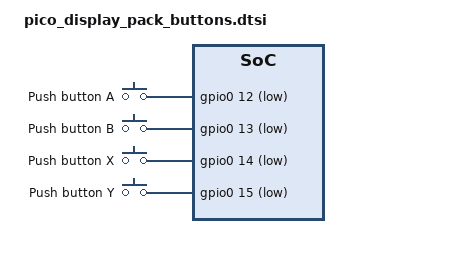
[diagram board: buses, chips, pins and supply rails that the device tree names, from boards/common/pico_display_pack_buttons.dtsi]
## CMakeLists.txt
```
# SPDX-License-Identifier: Apache-2.0

cmake_minimum_required(VERSION 3.20.0)

string(REGEX MATCH "^[^/]+" BOARD_NAME "${BOARD}")
if(BOARD_NAME STREQUAL "rpi_pico2")
    message(STATUS "Compiling for RPI_PICO2")
elseif(BOARD_NAME STREQUAL "rpi_pico")
    message(STATUS "Compiling for RPI_PICO")
endif()

if(EXTRA_CFLAGS MATCHES "-DOVP_SCALE_FACTOR=([0-9\\.eE+-]+)")
  set(OVP_SCALE_FACTOR "${CMAKE_MATCH_1}")
  message(STATUS "OVP_SCALE_FACTOR = ${OVP_SCALE_FACTOR}")
endif()

if(CONFIG_PICO_DISPLAY_PACK AND BOARD_NAME STREQUAL "rpi_pico")
  set(DTC_OVERLAY_FILE "boards/rpi_pico/pico_display_pack.overlay")
elseif(CONFIG_PICO_DISPLAY_PACK2 AND BOARD_NAME STREQUAL "rpi_pico")
  set(DTC_OVERLAY_FILE "boards/rpi_pico/pico_display_pack2.overlay")
elseif(CONFIG_PICO_DISPLAY_PACK AND BOARD_NAME STREQUAL "rpi_pico2")
  set(DTC_OVERLAY_FILE "boards/rpi_pico2/pico_display_pack.overlay")
elseif(CONFIG_PICO_DISPLAY_PACK2 AND BOARD_NAME STREQUAL "rpi_pico2")
  set(DTC_OVERLAY_FILE "boards/rpi_pico2/pico_display_pack2.overlay")
endif()

# Conditionally layer the PIO+DMA display fragment on top of the base overlay.
# This must be done from CMake (not via an #if inside the overlay): Zephyr runs
# the devicetree through the C preprocessor before Kconfig is evaluated, so
# CONFIG_* macros are not defined during DT preprocessing. The pio dtsi is its
# own overlay so it is applied after the base one and repoints &mipi_dbi.
# The PIO fragment is panel-agnostic (the display SPI pins are identical on
# Pack 1.0 and Pack 2.0), so a single per-board-family fragment is layered on
# top of whichever pack overlay was selected above.
if(CONFIG_DISPLAY_SPI_PIO_DMA)
  if(BOARD_NAME STREQUAL "rpi_pico")
    list(APPEND DTC_OVERLAY_FILE "boards/rpi_pico/pico_display_pio.dtsi")
  elseif(BOARD_NAME STREQUAL "rpi_pico2")
    list(APPEND DTC_OVERLAY_FILE "boards/rpi_pico2/pico_display_pio.dtsi")
  endif()
endif()

# Pico W WiFi/AP builds (wifi.conf / ap.conf) need a flash storage partition for
# NVS-backed Settings. DT is preprocessed before Kconfig, so gate on the conf
# fragment (a CMake-time -D), not CONFIG_WIFI. These builds are always the
# rpi_pico/rp2040/w board, where &flash0 / &code_partition exist.
if("${EXTRA_CONF_FILE}" MATCHES "wifi.conf" OR "${EXTRA_CONF_FILE}" MATCHES "ap.conf")
  list(APPEND DTC_OVERLAY_FILE "boards/pico_w_storage.overlay")
endif()

list(APPEND DTS_ROOT ${CMAKE_CURRENT_SOURCE_DIR})
find_package(Zephyr REQUIRED HINTS $ENV{ZEPHYR_BASE})
project(zpsu-mon)

add_compile_definitions(LV_LVGL_H_INCLUDE_SIMPLE)

if(OVP_SCALE_FACTOR)
  add_compile_definitions(OVP_SCALE_FACTOR=${OVP_SCALE_FACTOR})
endif()

include_directories(
  ${PROJECT_SOURCE_DIR}/src
  ${PROJECT_SOURCE_DIR}/src/ui
  ${PROJECT_SOURCE_DIR}/src/psu
  ${PROJECT_SOURCE_DIR}/src/app
  ${PROJECT_SOURCE_DIR}/src/clock
  ${PROJECT_SOURCE_DIR}/src/notification
  ${PROJECT_SOURCE_DIR}/src/display
  ${PROJECT_SOURCE_DIR}/src/driver
  ${PROJECT_SOURCE_DIR}/src/led
  ${PROJECT_SOURCE_DIR}/src/common
  )

set(app_SRCS
  ${PROJECT_SOURCE_DIR}/src/led/led.cpp
  ${PROJECT_SOURCE_DIR}/src/ui/watchface.cpp
  ${PROJECT_SOURCE_DIR}/src/ui/splash.cpp
  ${PROJECT_SOURCE_DIR}/src/ui/screens/ui_Screen1.c
  ${PROJECT_SOURCE_DIR}/src/ui/ui_helpers.c
  ${PROJECT_SOURCE_DIR}/src/ui/ui.c
  ${PROJECT_SOURCE_DIR}/src/ui/fonts/ui_font_DSEG7ClassicBold8.c
  ${PROJECT_SOURCE_DIR}/src/ui/fonts/ui_font_DSEG7ClassicBold36.c
  ${PROJECT_SOURCE_DIR}/src/app/watchface_app.cpp
  ${PROJECT_SOURCE_DIR}/src/app/watchface_app_glue.c
  ${PROJECT_SOURCE_DIR}/src/psu/psu_service.cpp
  ${PROJECT_SOURCE_DIR}/src/psu/psu_channel.c
  ${PROJECT_SOURCE_DIR}/src/psu/psu_controller.cpp
  ${PROJECT_SOURCE_DIR}/src/clock/clock.cpp
  ${PROJECT_SOURCE_DIR}/src/notification/notification_manager.cpp
  ${PROJECT_SOURCE_DIR}/src/main.cpp
  ${PROJECT_SOURCE_DIR}/src/app/app.cpp
  ${PROJECT_SOURCE_DIR}/src/display/display_control.cpp
  )

target_sources(app PRIVATE ${app_SRCS})

if(CONFIG_DISPLAY_SPI_PIO_DMA)
  target_sources(app PRIVATE ${PROJECT_SOURCE_DIR}/src/driver/spi_pio_dma.c)
  # spi_context.h is a private header that lives alongside the in-tree SPI
  # drivers; make it resolvable from our out-of-tree driver.
  target_include_directories(app PRIVATE $ENV{ZEPHYR_BASE}/drivers/spi)
endif()

# App-side software-triggered USB-DFU module (opt-in via dfu.conf -> CONFIG_APP_USB_DFU).
# dfu_enter_recovery() uses the RP2040 bootrom reset_usb_boot() to drop into the
# USB BOOTSEL bootloader (no MCUboot, no reboot dance). The shell `dfu` command
# inside dfu.c is further gated on CONFIG_SHELL (WiFi/AP builds). Default builds
# don't set CONFIG_APP_USB_DFU, so they never compile this.
if(CONFIG_APP_USB_DFU)
  target_sources(app PRIVATE
    ${PROJECT_SOURCE_DIR}/src/dfu/dfu.c
    ${PROJECT_SOURCE_DIR}/src/dfu/dfu_buttons.c)
  target_include_directories(app PRIVATE ${PROJECT_SOURCE_DIR}/src/dfu)
endif()

# Pico W WiFi connectivity glue — compiled only for the opt-in STA WiFi build
# (CONFIG_WIFI comes from wifi.conf via -DEXTRA_CONF_FILE). Keeps default
# rpi_pico / rpi_pico2 builds untouched.
# Excluded from the AP build (CONFIG_APP_WIFI_AP=y): the AP glue lives in
# src/net/wifi_ap.c (Task 2); wifi_net.c is the STA-mode glue only.
if(CONFIG_WIFI AND NOT CONFIG_APP_WIFI_AP)
  target_sources(app PRIVATE
    ${PROJECT_SOURCE_DIR}/src/net/wifi_net.c
    ${PROJECT_SOURCE_DIR}/src/net/persist.c)
endif()

if(CONFIG_APP_WIFI_AP)
  target_sources(app PRIVATE
    ${PROJECT_SOURCE_DIR}/src/net/wifi_ap.c
    ${PROJECT_SOURCE_DIR}/src/net/psu_udp.c
    ${PROJECT_SOURCE_DIR}/src/net/persist.c
    ${PROJECT_SOURCE_DIR}/src/net/ap_config.c
    ${PROJECT_SOURCE_DIR}/src/net/cred_parse.c
    # Host-testable DFU verb matcher; psu_udp.c's DFU branch (gated on
    # CONFIG_APP_USB_DFU) calls it. Harmless on the plain AP build.
    ${PROJECT_SOURCE_DIR}/src/dfu/dfu_cmd.c)
  target_include_directories(app PRIVATE
    ${PROJECT_SOURCE_DIR}/src/net
    ${PROJECT_SOURCE_DIR}/src/psu
    ${PROJECT_SOURCE_DIR}/src/dfu)
endif()

# add_subdirectory(src/ui)
```

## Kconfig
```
# Display drivers

# Copyright (c) 2017 Intel Corporation
# SPDX-License-Identifier: Apache-2.0

menu "Zephyr Kernel"
    source "Kconfig.zephyr"
endmenu

menu "ZSPSUMon"

    config PICO_DISPLAY_PACK
        bool
    prompt "Pico Display Pack"
    default n

    config PICO_DISPLAY_PACK2
        bool
    prompt "Pico Display Pack2"
    default n

    config APP_FLUSH_BENCH
        bool "Display SPI flush benchmark"
        default n
        select THREAD_RUNTIME_STATS
        help
          One-shot benchmark at boot that times display_write() and reports
          CPU left free during flushes from the scheduler's idle accounting
          (THREAD_RUNTIME_STATS). Prints a FLUSH BENCH block over printk.
          Off by default; enable to re-measure the SPI path.

    config DISPLAY_SPI_PIO_DMA
        bool "Drive the display SPI via PIO + TX-DMA (experimental)"
        default n
        select PINCTRL
        select PICOSDK_USE_PIO
        select PICOSDK_USE_CLAIM
        select PICOSDK_USE_DMA
        help
          Replace the PL022 hardware-SPI path with an in-project PIO state
          machine fed by a single TX DMA channel. Frees the CPU during flush
          and exposes a tunable clock/gap. When off, the display uses the
          default PL022 + DMA path.

    config APP_WIFI_AP
        bool "Pico W: WiFi AP mode + UDP PSU control"
        default n
        help
          Opt-in (set by ap.conf): run the Pico W as a WiFi Access Point and
          expose a small UDP text protocol on :5000 that drives the PSU. Selects
          the AP glue (src/net/wifi_ap.c) and the UDP server (src/net/psu_udp.c),
          and excludes the STA glue (src/net/wifi_net.c). Mutually exclusive with
          the STA wifi.conf build. Default builds are unaffected.

    config APP_WIFI_AP_AUTOSTART
        bool "Bring the SoftAP up automatically at boot"
        depends on APP_WIFI_AP
        default y
        help
          When set, src/net/wifi_ap.c starts the SoftAP from a boot-time work
          item. Turn OFF (-DCONFIG_APP_WIFI_AP_AUTOSTART=n) to leave the AP down
          at boot and bring it up manually from the shell
          (wifi ap enable -s <ssid> -k 1 -p <psk> -c 6) — used to isolate the
          driver's AP path from the boot-time auto-bringup during debugging.

    config APP_USB_DFU
        bool "Software-triggered USB firmware upgrade (reset to BOOTSEL)"
        default n
        help
          Opt-in (set by dfu.conf): compile the src/dfu/ trigger module. A
          shell `dfu` / UDP `DFU` / A+Y button-hold calls dfu_enter_recovery(),
          which uses the RP2040 bootrom reset_usb_boot() to drop the device
          into the USB mask-ROM bootloader (BOOTSEL) — a software-triggered,
          button-free firmware upgrade (drag a .uf2 / picotool load). No
          MCUboot, no repartition, no signing. Default builds are unaffected.

endmenu
```

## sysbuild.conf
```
# Sysbuild config for the opt-in MCUboot USB-DFU upgrade build. Only read when
# building with `--sysbuild`; the default bootloader-less builds never see this
# file, so they are 100% unaffected. Build e.g.:
#   west build --sysbuild -b rpi_pico/rp2040/w/mcuboot -d build_dfu_wifi \
#       -- -DCONFIG_PICO_DISPLAY_PACK2=y -DEXTRA_CONF_FILE="wifi.conf;dfu.conf"
SB_CONFIG_BOOTLOADER_MCUBOOT=y

# Single application slot (overwrite-in-place). The WiFi image (~1.1 MB) cannot
# fit a dual-slot 832 KB A/B layout in 2 MB flash, so every variant uses one big
# slot. Matches CONFIG_SINGLE_APPLICATION_SLOT in sysbuild/mcuboot.conf.
SB_CONFIG_MCUBOOT_MODE_SINGLE_APP=y

# Signing: leave the MCUboot bundled RSA-2048 dev key (SB default). PRODUCTION
# MUST swap in a private key via SB_CONFIG_BOOT_SIGNATURE_KEY_FILE. (Spec Risk 3.)
```

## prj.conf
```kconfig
# CONFIG_LV_Z_MEM_POOL_NUMBER_BLOCKS=8
CONFIG_MAIN_STACK_SIZE=2048
CONFIG_SYSTEM_WORKQUEUE_STACK_SIZE=10000
CONFIG_HEAP_MEM_POOL_SIZE=33000
CONFIG_CBPRINTF_FP_SUPPORT=y
CONFIG_DEBUG_THREAD_INFO=y

CONFIG_COMMON_LIBC_MALLOC_ARENA_SIZE=6144

CONFIG_ASSERT=y
CONFIG_REBOOT=y
# CONFIG_RESET_ON_FATAL_ERROR=y
CONFIG_DISPLAY=y
CONFIG_DISPLAY_LOG_LEVEL_ERR=y

CONFIG_I2C=y
CONFIG_SENSOR=y
CONFIG_ADC=y
CONFIG_BMI270=n
CONFIG_LIS2MDL=y
CONFIG_BME680=y

CONFIG_SENSOR_LOG_LEVEL_DBG=y

# CONFIG_MAX30101=y
# CONFIG_MAX30101_MULTI_LED_MODE=y
# CONFIG_MAX30101_SLOT1=1
# CONFIG_MAX30101_SLOT2=2
# CONFIG_MAX30101_SLOT3=3
# CONFIG_MAX30101_SLOT4=0

CONFIG_PINCTRL=y
CONFIG_PM_DEVICE=y

CONFIG_PWM=y

CONFIG_SPI=y
# Drive the display SPI flush over DMA: frees the CPU during the ~25 ms
# frame transfer and keeps the PL022 FIFO fed (no interrupt-induced gaps).
CONFIG_SPI_PL022_DMA=y
CONFIG_DMA=y
CONFIG_ST7789V=y
# CONFIG_ST7789V_RGB565=y
# CONFIG_GC9A01=y
# CONFIG_KSCAN_CST816S=y
# CONFIG_KSCAN_CST816S_INTERRUPT=y
# CONFIG_KSCAN=y
# CONFIG_LV_Z_POINTER_KSCAN=y
# CONFIG_LV_Z_POINTER_KSCAN_SWAP_XY=y
# CONFIG_LV_Z_POINTER_KSCAN_INVERT_X=y
CONFIG_REGULATOR=y
CONFIG_REGULATOR_FIXED=y

CONFIG_INPUT=y
CONFIG_INPUT_EVENT_DUMP=y

# LVGL configuration
CONFIG_LVGL=y
CONFIG_LV_Z_FLUSH_THREAD=y
CONFIG_LV_Z_FLUSH_THREAD_PRIORITY=0
CONFIG_LV_FONT_MONTSERRAT_8=y
CONFIG_LV_FONT_MONTSERRAT_10=y
CONFIG_LV_FONT_MONTSERRAT_12=y
CONFIG_LV_FONT_MONTSERRAT_14=y
CONFIG_LV_FONT_MONTSERRAT_16=y
CONFIG_LV_FONT_MONTSERRAT_18=y
CONFIG_LV_FONT_MONTSERRAT_20=y
CONFIG_LV_FONT_MONTSERRAT_28=y
CONFIG_LV_Z_POINTER_INPUT_MSGQ_COUNT=200
CONFIG_LV_Z_POINTER_INPUT=y

CONFIG_LV_CACHE_DEF_SIZE=10
CONFIG_LV_IMAGE_HEADER_CACHE_DEF_CNT=10
CONFIG_LV_USE_CUSTOM_SPRINTF=y
CONFIG_LV_Z_DOUBLE_VDB=y
CONFIG_LV_Z_VDB_SIZE=10
CONFIG_LV_DEF_REFR_PERIOD=30

CONFIG_LV_THEME_DEFAULT_DARK=y
CONFIG_LV_USE_THEME_DEFAULT=y

CONFIG_LV_COLOR_16_SWAP=y
CONFIG_LV_COLOR_DEPTH_16=y

# LVGL Size optimizations
CONFIG_LV_CONF_MINIMAL=y
CONFIG_LV_LABEL_TEXT_SELECTION=n
CONFIG_LV_LABEL_LONG_TXT_HINT=n
CONFIG_LV_USE_LOG=y
CONFIG_LV_USE_DROPDOWN=y
CONFIG_LV_USE_LINE=y
CONFIG_LV_USE_SLIDER=y
CONFIG_LV_USE_SWITCH=y
CONFIG_LV_USE_FLEX=y
CONFIG_LV_USE_ANIMIMG=y
CONFIG_LV_USE_CHART=y
CONFIG_LV_USE_LED=y
CONFIG_LV_USE_MENU=y
CONFIG_LV_USE_MSGBOX=y
CONFIG_LV_USE_SPINNER=y
CONFIG_LV_USE_TILEVIEW=y
CONFIG_LV_USE_GIF=y
CONFIG_LV_USE_LABEL=y
CONFIG_LV_USE_IMAGE=y
CONFIG_LV_USE_ARC=y
CONFIG_LV_USE_BUTTON=y
CONFIG_LV_USE_BUTTONMATRIX=y
CONFIG_LV_USE_IMAGEBUTTON=y
CONFIG_LV_USE_CHECKBOX=y
CONFIG_LV_USE_SCALE=y
CONFIG_LV_USE_ASSERT_NULL=y
CONFIG_LV_USE_ASSERT_MALLOC=y
CONFIG_LV_FONT_DEFAULT_MONTSERRAT_14=y
CONFIG_LV_WIDGETS_HAS_DEFAULT_VALUE=y
CONFIG_LV_TXT_ENC_UTF8=y

CONFIG_LV_DRAW_SW_SUPPORT_RGB565=y
CONFIG_LV_DRAW_SW_SUPPORT_RGB565A8=y
CONFIG_LV_DRAW_SW_SUPPORT_RGB888=n
CONFIG_LV_DRAW_SW_SUPPORT_XRGB8888=n
CONFIG_LV_DRAW_SW_SUPPORT_ARGB8888=n
CONFIG_LV_DRAW_SW_SUPPORT_L8=n
CONFIG_LV_DRAW_SW_SUPPORT_AL88=n
CONFIG_LV_DRAW_SW_SUPPORT_A8=n
CONFIG_LV_DRAW_SW_SUPPORT_I1=n

#
# Memory settings
#
CONFIG_LV_Z_MEM_POOL_SIZE=95000
# end of Memory settings

# NVS
CONFIG_FLASH=y
CONFIG_FLASH_MAP=y
CONFIG_MPU_ALLOW_FLASH_WRITE=y
CONFIG_FLASH_PAGE_LAYOUT=y

# (Persistence for the Pico W WiFi/AP builds is configured in wifi.conf/ap.conf:
#  Settings -> NVS on the storage_partition. The old FATFS/SETTINGS_FILE config
#  here was never wired up — no backing disk, no mount, no settings_load.)

# Bluetooth
# CONFIG_BT=y
# CONFIG_BT_HCI=y
# CONFIG_BT_CTLR=n
# Enable Direction Finding TX Feature including AoA and AoD
CONFIG_BT_DF=y
CONFIG_BT_DF_CONNECTIONLESS_CTE_TX=y
#CONFIG_BT_RX_STACK_SIZE=2048
# Enable chaining of multiple CTEs in periodic advertising
# CONFIG_BT_DEBUG_LOG=n
#CONFIG_BT_SMP=y
CONFIG_BT_PERIPHERAL=y
CONFIG_BT_DIS=y
CONFIG_BT_DIS_PNP=n
CONFIG_BT_BAS=n
CONFIG_BT_HRS=n
CONFIG_BT_DEVICE_NAME="Smart Watch"
CONFIG_BT_DEVICE_APPEARANCE=194
CONFIG_BT_KEYS_OVERWRITE_OLDEST=y
CONFIG_BT_SETTINGS=n
CONFIG_BT_MAX_PAIRED=1
CONFIG_BT_MAX_CONN=1

CONFIG_BT_GATT_CLIENT=y

CONFIG_BT_EXT_ADV=y
CONFIG_BT_PER_ADV=y

CONFIG_BT_BROADCASTER=y
CONFIG_BT_SMP_ALLOW_UNAUTH_OVERWRITE=y
#CONFIG_BT_CONN_PARAM_UPDATE_TIMEOUT=
CONFIG_BT_EXT_ADV_MAX_ADV_SET=2
CONFIG_BT_BUF_ACL_RX_SIZE=100
CONFIG_BT_BUF_ACL_TX_SIZE=100
CONFIG_BT_L2CAP_TX_MTU=96

 # Allows to do some basic UI tasks in BT callbacks.
CONFIG_BT_RX_STACK_SIZE=3000

# SEGGER RTT logging instead of UART
CONFIG_LOG_PRINTK=y
CONFIG_LOG=y
CONFIG_LOG_MODE_IMMEDIATE=y
CONFIG_DEBUG_OPTIMIZATIONS=y
CONFIG_USE_SEGGER_RTT=y
CONFIG_LOG_BACKEND_RTT=y
CONFIG_LOG_BACKEND_RTT_MODE_BLOCK=y
# End of SEGGER RTT

# libc: full newlib, explicitly (picolibc is unavailable anyway: module-picolibc
# is excluded under CONFIG_REQUIRES_FULL_LIBCPP below). Full newlib's malloc
# used to boot-panic WiFi builds via a sysconf() ABI clash (newlib's
# _SC_PAGESIZE=8 read as Zephyr's _SC_MAPPED_FILES -> "page size" 200809) —
# REQUIRES patches/zephyr_sysconf_newlib_abi.patch (Zephyr issue 111011;
# regression test: tests/sysconf_abi). Without the patch, whether a WiFi
# build boots is an _end-address lottery.
CONFIG_NEWLIB_LIBC=y
CONFIG_POSIX_API=y

CONFIG_CLOCK_CONTROL_NRF_K32SRC_RC=y

CONFIG_PM=y

# Size optimizations
#CONFIG_SIZE_OPTIMIZATIONS=y
# CONFIG_THREAD_STACK_INFO=n
CONFIG_WATCHDOG=n
CONFIG_SERIAL=y
CONFIG_CONSOLE=y
CONFIG_PRINTK=y
CONFIG_USB_DEVICE_STACK=y
CONFIG_USB_DEVICE_INITIALIZE_AT_BOOT=y
CONFIG_USB_DEVICE_VID=0x2e8a
CONFIG_USB_DEVICE_PID=0x000a
CONFIG_USB_DEVICE_PRODUCT="Pico"
CONFIG_USB_DEVICE_MANUFACTURER="Raspberry Pi"
CONFIG_UART_INTERRUPT_DRIVEN=y
CONFIG_UART_LINE_CTRL=y

CONFIG_ZBUS=y
# CONFIG_ZBUS_RUNTIME_OBSERVERS_POOL_SIZE=2
CONFIG_ZBUS_LOG_LEVEL_INF=y
CONFIG_ZBUS_CHANNEL_NAME=y
CONFIG_ZBUS_OBSERVER_NAME=y

CONFIG_LED=y

# CONFIG_I2C_LOG_LEVEL_DBG=y

CONFIG_ENTROPY_GENERATOR=y
CONFIG_ENTROPY_DEVICE_RANDOM_GENERATOR=y

# C++ support (PSU module refactor)
CONFIG_CPP=y
CONFIG_STD_CPP20=y
CONFIG_REQUIRES_FULL_LIBCPP=y
CONFIG_CPP_EXCEPTIONS=y
CONFIG_CPP_RTTI=y
```

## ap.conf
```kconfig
# --- Pico W (RP2040) WiFi AP mode + UDP PSU control (opt-in fragment) ---
# Build:  west build -b rpi_pico/rp2040/w -d build_ap -- \
#             -DCONFIG_PICO_DISPLAY_PACK2=y -DEXTRA_CONF_FILE=ap.conf
# Requires: west blobs fetch hal_infineon  (one-time, in zephyrproject)
#
# Mutually exclusive with wifi.conf (pick one EXTRA_CONF_FILE). Default
# rpi_pico / rpi_pico2 builds never include this file, so they are unaffected.

# Project gate: selects wifi_ap.c + psu_udp.c, excludes wifi_net.c (STA).
CONFIG_APP_WIFI_AP=y

# Networking core: IPv4 + UDP only. No TCP/IPv6 to save RP2040 RAM.
CONFIG_NETWORKING=y
CONFIG_NET_IPV4=y
CONFIG_NET_IPV6=n
CONFIG_NET_TCP=n
CONFIG_NET_UDP=y
CONFIG_NET_MAX_CONTEXTS=6

# DHCPv4 *server* (hands joining clients an address). No DHCP client in AP mode.
# Selects NET_SOCKETS + NET_SOCKETS_SERVICE; default pool is 4 leases.
CONFIG_NET_DHCPV4_SERVER=y
CONFIG_NET_SOCKETS=y

# WiFi: board defconfig sets CONFIG_CYW43439=y and enables the AIROC driver;
# this turns on the WiFi management API (which includes ap_enable/ap_disable).
CONFIG_WIFI=y
CONFIG_WIFI_LOG_LEVEL_ERR=y

# Leave CONFIG_WIFI_INIT_PRIORITY at its default (80): airoc chip bring-up must
# run before net-if init (NET_INIT_PRIO=90), which reads the chip MAC into the
# link address (we derive the AP SSID suffix from it). (Same lesson as wifi.conf.)

# Interactive shell over the existing USB CDC ACM console. This board has NO
# J-Link, so route logs through the shell over USB-CDC (drop SEGGER RTT) — the
# only console you can read here. NET_L2_WIFI_SHELL gives `wifi ap enable` for
# the Task 1 de-risk.
CONFIG_SHELL=y
CONFIG_NET_SHELL=y
CONFIG_NET_L2_WIFI_SHELL=y
CONFIG_SHELL_LOG_BACKEND=y
CONFIG_USE_SEGGER_RTT=n
CONFIG_LOG_BACKEND_RTT=n

# net_mgmt event delivery.
CONFIG_NET_MGMT_EVENT_QUEUE_SIZE=16
CONFIG_NET_MGMT_EVENT_QUEUE_TIMEOUT=5000

# Buffers / stacks — trimmed for RP2040 (same base as wifi.conf). TRIM ORDER if
# the image overflows RAM:
#   1) (already done) NET_TCP=n, NET_IPV6=n
#   2) lower NET_PKT_* / NET_BUF_* counts
#   3) lower CONFIG_LV_Z_MEM_POOL_SIZE (already 80000 below; drop further)
CONFIG_NET_PKT_RX_COUNT=6
CONFIG_NET_PKT_TX_COUNT=6
CONFIG_NET_BUF_RX_COUNT=12
CONFIG_NET_BUF_TX_COUNT=12
CONFIG_MAIN_STACK_SIZE=4096
CONFIG_SHELL_STACK_SIZE=3072
CONFIG_NET_TX_STACK_SIZE=1536
CONFIG_NET_RX_STACK_SIZE=1536

# Random source for the net stack (no RP2040 entropy driver in v4.2.1).
CONFIG_TEST_RANDOM_GENERATOR=y

# RAM headroom (AP build ONLY): single LVGL frame buffer + smaller object pool,
# same as the STA build's proven trim.
CONFIG_LV_Z_DOUBLE_VDB=n
CONFIG_LV_Z_MEM_POOL_SIZE=80000

# Quiet the bench I2C error spam (PSU often not attached on the bench).
CONFIG_I2C_LOG_LEVEL_OFF=y

# --- Persistent storage for runtime credentials (Settings -> NVS) ---
# Uses the storage_partition from boards/pico_w_storage.overlay.
CONFIG_FLASH_MAP=y
CONFIG_NVS=y
CONFIG_SETTINGS=y
CONFIG_SETTINGS_NVS=y
```

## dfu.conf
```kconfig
# --- Software-triggered USB firmware upgrade (Path A: reset to BOOTSEL) ---
# Opt-in fragment. Add to EXTRA_CONF_FILE on a normal (bootloader-less) build:
#   west build -b rpi_pico/rp2040/w -d build_dfu -- \
#       -DCONFIG_PICO_DISPLAY_PACK2=y -DEXTRA_CONF_FILE="wifi.conf;dfu.conf"
# Default builds never include this file.
#
# Compiles src/dfu/: a shell `dfu` / UDP `DFU` / A+Y button-hold calls
# dfu_enter_recovery(), which uses the RP2040 bootrom reset_usb_boot() to drop
# straight into the USB mask-ROM bootloader (BOOTSEL). Upgrade = drag a .uf2 /
# `picotool load`. No MCUboot, no flash repartition, no signing, no reboot dance.
CONFIG_APP_USB_DFU=y
```

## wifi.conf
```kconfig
# --- Pico W (RP2040) WiFi connectivity (opt-in fragment) ---
# Build:  west build -b rpi_pico/rp2040/w -d build_wifi -- \
#             -DCONFIG_PICO_DISPLAY_PACK2=y -DEXTRA_CONF_FILE=wifi.conf
# Requires: west blobs fetch hal_infineon  (one-time, in zephyrproject)
#
# Default rpi_pico / rpi_pico2 builds never include this file, so they are
# completely unaffected.

# Networking core: IPv4 + DHCP only. No TCP/IPv6 to save RP2040 RAM
# (the connectivity foundation needs only DHCP + ICMP).
CONFIG_NETWORKING=y
CONFIG_NET_IPV4=y
CONFIG_NET_IPV6=n
CONFIG_NET_TCP=n
CONFIG_NET_DHCPV4=y
CONFIG_NET_MAX_CONTEXTS=6

# WiFi: the board defconfig already sets CONFIG_CYW43439=y and the board DT
# enables the AIROC driver; this turns on the WiFi management API.
CONFIG_WIFI=y
CONFIG_WIFI_LOG_LEVEL_ERR=y

# Leave CONFIG_WIFI_INIT_PRIORITY at its default (80). The AIROC chip bring-up
# (airoc_init) MUST run before the net-if init (NET_INIT_PRIO=90), because the
# interface init reads the chip's MAC into the link address. Delaying WiFi init
# past 90 makes that MAC read fail -> link addr 00:00:00:00:00:00 -> DHCP never
# completes. (Default 80 < 90, so the MAC is ready in time.)

# Auto-connect at boot is handled in src/net/wifi_net.c: if a (gitignored)
# src/net/wifi_creds.h is present, it issues the WiFi connect at startup and
# retries on the transient first-join failure / on link drops. No credentials
# live in the committed tree.

# Interactive shell over the existing USB CDC ACM console (the chosen
# zephyr,shell-uart in the pack overlay). This target has NO J-Link, so route
# logs through the shell over USB-CDC (drop the SEGGER RTT backend) — that's
# the only console you can actually read here.
CONFIG_SHELL=y
CONFIG_NET_SHELL=y
CONFIG_NET_L2_WIFI_SHELL=y
CONFIG_SHELL_LOG_BACKEND=y
CONFIG_USE_SEGGER_RTT=n
CONFIG_LOG_BACKEND_RTT=n

# net_mgmt event delivery (scan results are bursty).
CONFIG_NET_MGMT_EVENT_QUEUE_SIZE=16
CONFIG_NET_MGMT_EVENT_QUEUE_TIMEOUT=5000

# Buffers / stacks — trimmed for RP2040. prj.conf sets MAIN_STACK_SIZE=2048;
# raise it here for the net stack. TRIM ORDER if the image overflows RAM:
#   1) (already done) NET_TCP=n, NET_IPV6=n
#   2) lower NET_PKT_* / NET_BUF_* counts
#   3) lower CONFIG_LV_Z_MEM_POOL_SIZE (add it here; do NOT edit prj.conf)
CONFIG_NET_PKT_RX_COUNT=6
CONFIG_NET_PKT_TX_COUNT=6
CONFIG_NET_BUF_RX_COUNT=12
CONFIG_NET_BUF_TX_COUNT=12
CONFIG_MAIN_STACK_SIZE=4096
CONFIG_SHELL_STACK_SIZE=3072
CONFIG_NET_TX_STACK_SIZE=1536
CONFIG_NET_RX_STACK_SIZE=1536

# Random source for DHCPv4 (XIDs / ephemeral ports). The RP2040 has no
# hardware entropy driver in Zephyr v4.2.1, so the entropy-based RNG choices
# are unavailable and sys_rand_get() would be undefined. Use the lightweight
# generator (non-cryptographic; fine for this use). Matches Zephyr's own
# samples/net/wifi/shell. A proper entropy source is a future enhancement.
CONFIG_TEST_RANDOM_GENERATOR=y

# RAM headroom for the WiFi build ONLY (default non-W build is unaffected).
# Diagnosis showed the device runs out of RAM once WiFi + the watchface + net
# buffers are all live (~98% used, ~5 KB free) -> heap/buffer corruption ->
# warm reset. Free static RAM by dropping LVGL's SECOND frame buffer
# (single-buffered; ~15 KB reclaimed — the DMA flush path still works, refresh
# is slightly less smooth), and give the object pool a bit more room than the
# earlier 72000 squeeze.
CONFIG_LV_Z_DOUBLE_VDB=n
CONFIG_LV_Z_MEM_POOL_SIZE=80000

# Quiet the repeated I2C error during bench WiFi testing (WiFi build ONLY; the
# default non-W production build keeps full I2C reporting). On the bench the
# PSU's I2C device (HP PL30) usually isn't attached, so the i2c_dw driver
# logs "IO Fail on i2c@40044000" on every poll — turn its log off.
CONFIG_I2C_LOG_LEVEL_OFF=y

# --- Persistent storage for runtime credentials (Settings -> NVS) ---
# Uses the storage_partition from boards/pico_w_storage.overlay.
CONFIG_FLASH_MAP=y
CONFIG_NVS=y
CONFIG_SETTINGS=y
CONFIG_SETTINGS_NVS=y

# --- Runtime STA credentials (native v4.4.0 library) ---
# `wifi cred add/delete/list` shell + NET_REQUEST_WIFI_CONNECT_STORED, persisted
# via the Settings -> NVS store configured above.
CONFIG_WIFI_CREDENTIALS=y
CONFIG_WIFI_CREDENTIALS_BACKEND_SETTINGS=y
```

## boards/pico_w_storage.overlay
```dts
/*
 * Pico W (RP2040 /w) WiFi/AP builds: carve a 64 KB storage_partition from the
 * top of the 2 MB flash for NVS-backed Settings (runtime WiFi/AP credentials).
 * The stock rpi_pico flash map is one read-only code-partition spanning all
 * usable flash; shrink it and add storage at the top. The image is ~1.2 MB, so
 * it never reaches 0x1f0000. CONFIG_SETTINGS_NVS auto-uses the node labeled
 * `storage_partition` (no chosen needed).
 */
&code_partition {
	reg = <0x100 (DT_SIZE_M(2) - 0x100 - DT_SIZE_K(64))>;
};

&flash0 {
	partitions {
		storage_partition: partition@1f0000 {
			label = "storage";
			reg = <0x001f0000 DT_SIZE_K(64)>;
		};
	};
};
```

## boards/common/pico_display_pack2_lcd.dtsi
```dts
/ {
    mipi_dbi: mipi_dbi {
        compatible = "zephyr,mipi-dbi-spi";
	status = "okay";
	dc-gpios = <&gpio0 16 GPIO_ACTIVE_HIGH>;	/* DET */
	/* reset-gpios = <&gpio0 25 GPIO_ACTIVE_LOW>; */	/* RESX reset */

        spi-dev = <&spi0>;
	write-only;
        #address-cells = <1>;
        #size-cells = <0>;

	/* Pico Display Pack2 */
	st7789v: st7789v@0 {
		compatible = "sitronix,st7789v";
		reg = <0>;
		/* DMA keeps SCK gapless, unlike polling which inserted FIFO-refill
		 * gaps that gave the panel timing margin. PL022 (pclk 125M, prescale 2)
		 * can only do 125/4=31.25M, 125/6=20.83M, 125/8=15.625M and picks the
		 * fastest <= this value. Continuous DMA on this HAT garbled at both
		 * 31.25M (old 48M setting) and 20.83M; 15.625M is the highest verified
		 * stable rate. Raise only if the panel wiring/connector improves. */
		mipi-max-frequency = <DT_FREQ_M(16)>;
		width = <320>;
		height = <240>;
		x-offset = <0>;
		y-offset = <0>;
		vcom = <0x1f>;   /* VCOMS Setting: 0.875V */
		gctrl = <0x35>;  /* VGH: 13.26V VGL: -10.43V */
		vrhs = <0x12>;
		vdvs = <0x20>;
		mdac = <0x70>;  /* Rotate 270 */
		gamma = <0x03>;
		colmod = <0x05>; /* 16 bit/pixel */
		lcm = <0x2c>;
		porch-param = [0c 0c 00 33 33];
		cmd2en-param = [5a 69 02 01];
		pwctrl1-param = [a4 a1];
		pvgam-param = [D0 08 11 08 0C 15 39 33 50 36 13 14 29 2D];
		nvgam-param = [D0 08 10 08 06 06 39 44 51 0B 16 14 2F 31];
		ram-param = [00 F0];
		rgb-param = [CD 08 14];
                mipi-mode = "MIPI_DBI_MODE_SPI_4WIRE";
	};
     };
};
```

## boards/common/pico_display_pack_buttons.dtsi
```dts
/ {
    keys: keys {
        compatible = "gpio-keys";

        button0: button_A {
            gpios = <&gpio0 12 (GPIO_PULL_UP | GPIO_ACTIVE_LOW)>;
            label = "Push button A";
            zephyr,code = <INPUT_KEY_1>;
        };

        button1: button_B {
            gpios = <&gpio0 13 (GPIO_PULL_UP | GPIO_ACTIVE_LOW)>;
            label = "Push button B";
            zephyr,code = <INPUT_KEY_UP>;
        };

        button2: button_X {
            gpios = <&gpio0 14 (GPIO_PULL_UP | GPIO_ACTIVE_LOW)>;
            label = "Push button X";
            zephyr,code = <INPUT_KEY_3>;
        };

        button3: button_Y {
            gpios = <&gpio0 15 (GPIO_PULL_UP | GPIO_ACTIVE_LOW)>;
            label = "Push button Y";
            zephyr,code = <INPUT_KEY_DOWN>;
        };
    };
};
```

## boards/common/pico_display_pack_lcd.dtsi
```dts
/ {
    mipi_dbi: mipi_dbi {
        compatible = "zephyr,mipi-dbi-spi";
        status = "okay";

        dc-gpios = <&gpio0 16 GPIO_ACTIVE_HIGH>;
        spi-dev = <&spi0>;
        write-only;

        #address-cells = <1>;
        #size-cells = <0>;

        st7789v: st7789v@0 {
            compatible = "sitronix,st7789v";
            reg = <0>;
            /* Conservative rate mirroring the pack2 result: continuous DMA
             * needs a lower SCK than gapped polling. 16M -> 15.625M was the
             * highest stable rate verified on pack2; unvalidated on this 1.0
             * panel, so start safe and tune up if it proves solid here. */
            mipi-max-frequency = <DT_FREQ_M(16)>;

            width = <240>;
            height = <135>;
            x-offset = <40>;
            y-offset = <53>;

            vcom = <0x3D>;
            gctrl = <0x75>;
            vrhs = <0x00>;
            vdvs = <0x20>;
            mdac = <0x70>;
            gamma = <0x03>;
            colmod = <0x05>;
            lcm = <0x2c>;

            porch-param = [0c 0c 00 33 33];
            cmd2en-param = [5a 69 02 01];
            pwctrl1-param = [a4 a1];
            pvgam-param = [70 04 08 09 09 05 2A 33 41 07 13 13 29 2f];
            nvgam-param = [70 03 09 0A 09 06 2B 34 41 07 12 14 28 2E];
            ram-param = [00 F0];
            rgb-param = [CD 08 14];

            mipi-mode = "MIPI_DBI_MODE_SPI_4WIRE";
        };
    };
};
```

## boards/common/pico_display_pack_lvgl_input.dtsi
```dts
/ {
    lvgl_button_input: lvgl_button_input {
        compatible = "zephyr,lvgl-button-input";
        input = <&keys>;
        input-codes = <INPUT_KEY_1 INPUT_KEY_3>;

    };

    lvgl_keypad_input: lvgl_keypad_input {
        compatible = "zephyr,lvgl-keypad-input";
        input = <&keys>;
	input-codes = <INPUT_KEY_UP INPUT_KEY_DOWN>;
	lvgl-codes = <LV_KEY_UP LV_KEY_DOWN>;
    };

};
```

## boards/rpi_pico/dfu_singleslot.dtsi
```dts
/*
 * MCUboot USB-DFU upgrade build (RP2040, 2 MB): a single application slot
 * (overwrite-in-place) + the RP2040 boot-mode retention region. Shared by the
 * application image (DTC_OVERLAY_FILE in CMakeLists for any mcuboot board)
 * and the MCUboot child image (sysbuild/mcuboot.overlay), so both agree on the
 * flash map AND on the retained boot-mode byte the app sets to request recovery.
 *
 * Overrides the board variant's stock dual-slot partitions_2M_sysbuild.dtsi:
 * the WiFi image (~1.1 MB) cannot fit an 832 KB A/B slot, so we use one ~1.84 MB
 * slot. No rollback — the un-brickable BOOTSEL ROM is the recovery net.
 */

/* Shrinks sram0 by 4 B and adds the RetainedMem region + `chosen zephyr,boot-mode`
 * at 0x20000000 (placed so the bootrom stack does not clobber it). */
#include <raspberrypi/rp2040-boot-mode-retention.dtsi>

&flash0 {
	/delete-node/ partitions;

	partitions {
		compatible = "fixed-partitions";
		#address-cells = <0x1>;
		#size-cells = <0x1>;

		second_stage_bootloader: partition@0 {
			label = "second_stage_bootloader";
			reg = <0x0 0x100>;
			read-only;
		};

		/* MCUboot + USB device stack + CDC-ACM + SMP serial recovery.
		 * ~96 KB. If Task 1 shows the bootloader does not fit, ENLARGE this
		 * (push slot0_partition up to 0x20000 = 128 KB boot); the single slot
		 * has slack to give. */
		boot_partition: partition@100 {
			label = "mcuboot";
			reg = <0x100 0x17f00>;
		};

		/* The only application slot (image-0): ~1.84 MB. */
		slot0_partition: partition@18000 {
			label = "image-0";
			reg = <0x18000 0x1d8000>;
		};

		/* NVS store for runtime WiFi/AP credentials — same 64 KB @0x1f0000
		 * as boards/pico_w_storage.overlay, so creds map identically. Unused
		 * (but harmless) on the non-WiFi upgrade build. */
		storage_partition: partition@1f0000 {
			label = "storage";
			reg = <0x1f0000 DT_SIZE_K(64)>;
		};
	};
};
```

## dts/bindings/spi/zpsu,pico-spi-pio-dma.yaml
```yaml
# Copyright (c) 2026
# SPDX-License-Identifier: Apache-2.0

description: ST7789 SPI via RP2040 PIO + TX DMA (write-only)

compatible: "zpsu,pico-spi-pio-dma"

include: ["spi-controller.yaml", "raspberrypi,pico-pio-device.yaml", "reset-device.yaml"]

properties:
  clk-gpios:
    type: phandle-array
    required: true
    description: Output pin for SPI clock (SCK).

  mosi-gpios:
    type: phandle-array
    required: true
    description: Output pin for MOSI.

  clocks:
    required: true

  gap-cycles:
    type: int
    default: 0
    description: |
      Extra PIO delay cycles inserted per byte to give the panel recovery
      time at high clock. 0 = fully gapless stream.
```

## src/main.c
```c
#include <zephyr/device.h>
#include <zephyr/devicetree.h>
#include <zephyr/drivers/display.h>
#include <zephyr/drivers/gpio.h>
#include <zephyr/drivers/i2c.h>
#include <zephyr/drivers/pwm.h>
#include <zephyr/logging/log.h>
#include <zephyr/zbus/zbus.h>
#include <lvgl.h>
#include <stdio.h>
#include <string.h>
#include <zephyr/kernel.h>
#include <stdlib.h>
#include <math.h>

#include "ui.h"
#include <display_control.h>
#include "watchface_app.h"
#include "psu_service.h"

// #define LOG_LEVEL CONFIG_LOG_DEFAULT_LEVEL
// LOG_MODULE_REGISTER(app);

LOG_MODULE_REGISTER(main, LOG_LEVEL_WRN);

#define RENDER_INTERVAL_LVGL    K_MSEC(100)

typedef enum ui_state {
        INIT_STATE,
        SETTINGS_STATE,
        WATCHFACE_STATE,
        APPLICATION_MANAGER_STATE,
        NOTIFCATION_STATE,
        NOTIFCATION_LIST_STATE,
} ui_state_t;

void run_init_work(struct k_work *item);
static int pwm_rgb_led_init(void);

static const struct pwm_dt_spec red_pwm_led = PWM_DT_SPEC_GET(DT_ALIAS(red_pwm_led));
static const struct pwm_dt_spec green_pwm_led = PWM_DT_SPEC_GET(DT_ALIAS(green_pwm_led));
static const struct pwm_dt_spec blue_pwm_led = PWM_DT_SPEC_GET(DT_ALIAS(blue_pwm_led));
static uint32_t fanRPM = 3200;
static uint8_t last_brightness = 5;

static ui_state_t watch_state = INIT_STATE;

K_WORK_DEFINE(init_work, run_init_work);

#define CONFIG_BUTTON_PSUCTRL_THREAD_PRIO 8
#define CONFIG_BUTTON_PSUCTRL_STACK_SIZE 1024

// K_THREAD_DEFINE(psuCtrlThreadId, CONFIG_BUTTON_PSUCTRL_STACK_SIZE,
//                 psu_service_init, NULL, NULL, NULL, CONFIG_BUTTON_PSUCTRL_THREAD_PRIO, 0, K_TICKS_FOREVER);

void run_init_work(struct k_work *item)
{
        pwm_rgb_led_init();
        // psu_service_init() is registered via SYS_INIT() in psu_service.cpp
        // Not to self, PWM consumes like 250uA...
        // Need to disable also when screen is off.
        display_control_init();
        display_control_power_on(true);

	static const struct device *lvgl_btn_dev;
	lvgl_btn_dev = DEVICE_DT_GET(DT_COMPAT_GET_ANY_STATUS_OKAY(zephyr_lvgl_button_input));
	if (!device_is_ready(lvgl_btn_dev))
	{
		LOG_ERR("Device not ready, aborting...");
		return 0;
	}

        watch_state = WATCHFACE_STATE;
        watchface_app_start(NULL);
        // k_thread_start(psuCtrlThreadId);
}

static int pwm_rgb_led_init(void)
{
	uint32_t pulse_red = 0, pulse_green = 0, pulse_blue = 0; /* pulse widths */
	int ret;

	printk("PWM-based RGB LED control\n");

	if (!device_is_ready(red_pwm_led.dev) ||
	    !device_is_ready(green_pwm_led.dev) ||
	    !device_is_ready(blue_pwm_led.dev)) {
		printk("Error: one or more PWM devices not ready\n");
		return 0;
	}

        // uint32_t pulse_red = red_pwm_led.period, pulse_green = green_pwm_led.period, pulse_blue = blue_pwm_led.period; /* pulse widths */
        ret = pwm_set_pulse_dt(&red_pwm_led, pulse_red);
        if (ret != 0) {
                printk("Error %d: red write failed\n", ret);
                return 0;
        }

        ret = pwm_set_pulse_dt(&green_pwm_led, pulse_green);
        if (ret != 0) {
                printk("Error %d: green write failed\n", ret);
                return 0;
        }
        ret = pwm_set_pulse_dt(&blue_pwm_led, pulse_blue);
        if (ret != 0) {
                printk("Error %d: blue write failed\n", ret);
                return 0;
        }
	return 0;
}

int main(void)
{
        // The init code requires a bit of stack.
        // So in order to not increase CONFIG_MAIN_STACK_SIZE and loose
        // this RAM forever, instead re-use the system workqueue for init
        // it has the required amount of stack.
        k_work_submit(&init_work);

        return 0;
}
```

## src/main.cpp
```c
#include "app.hpp"

int main(void) {
  app::App::Instance().Start();
  return 0;
}
```

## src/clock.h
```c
#ifndef __CLOCK_H
#define __CLOCK_H
#include <inttypes.h>
#include <time.h>

#ifdef __cplusplus
extern "C" {
#endif

void clock_init(uint64_t start_time_seconds);
struct tm *clock_get_time(void);
time_t clock_get_time_unix(void);

#ifdef __cplusplus
}
#endif

#endif
```

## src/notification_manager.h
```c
#ifndef __NOTIFICATION_MANAGERH_
#define __NOTIFICATION_MANAGERH_
#include <inttypes.h>
#include <ble_comm.h>

#define NOTIFICATION_MGR_MAX_FIELD_LEN  50
#define NOTIFICATION_MANAGER_MAX_STORED 5

#ifdef __cplusplus
extern "C" {
#endif

typedef enum notification_src {
    NOTIFICATION_SRC_MESSENGER,
    NOTIFICATION_SRC_GMAIL,
    NOTIFICATION_SRC_NONE
} notification_src_t;

typedef struct not_mngr_notification {
    uint32_t id;
    char sender[NOTIFICATION_MGR_MAX_FIELD_LEN];
    char title[NOTIFICATION_MGR_MAX_FIELD_LEN];
    char body[NOTIFICATION_MGR_MAX_FIELD_LEN];
    notification_src_t src;
} not_mngr_notification_t;

void notification_manager_init(void);
not_mngr_notification_t *notification_manager_add(ble_comm_notify_t *notification);
int32_t notification_manager_remove(uint32_t id);
int32_t notification_manager_get(uint32_t id, not_mngr_notification_t *notifcation);
int32_t notification_manager_get_all(not_mngr_notification_t *notifcations, int *num_notifications);
int32_t notification_manager_get_num(void);
not_mngr_notification_t *notification_manager_get_newest(void);

#ifdef __cplusplus
}
#endif

#endif
```

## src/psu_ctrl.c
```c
// Copyright 2023 the X project authors. All rights reserved.
// Use of this source code is governed by a BSD-style license that can be
// found in the LICENSE file.

#include "psu_ctrl.h"
#include <events/psuctrl_event.h>
#include <zephyr/random/random.h>
#include "ui.h"

LOG_MODULE_REGISTER(PSUCtrl, LOG_LEVEL_WRN);

#ifndef OVP_SCALE_FACTOR
#define OVP_SCALE_FACTOR 1.0
#endif

static int PSUCtrl_deviceIsReady();
static int PSUCtrl_readEEPROM();
static int PSUCtrl_readVar(uint8_t address, uint8_t* writeInts, uint32_t writeLen, uint8_t* data, uint32_t readCount);
static int PSUCtrl_writeVar(uint8_t address, uint8_t* data, uint32_t len);
static int PSUCtrl_readDPS1200(uint8_t reg, uint8_t* data, uint32_t count);
static int PSUCtrl_readDPS1200Register(uint8_t reg, int *value);
static int PSUCtrl_writeDPS1200(uint8_t reg, int value);
static int PSUCtrl_deinit(void);


static const struct device *i2cdev_;
static int i2cbus_;
static int address_;
static int EEaddress_;
static int numReg_;
static uint16_t* lastReg_;
static uint16_t* minReg_;
static uint16_t* maxReg_;
struct k_mutex mutex_;

int PSUCtrl_init(uint8_t i2cbus, uint8_t address) {
        address_ = 0x58 + address;
        EEaddress_ = 0x50 + address;
        const struct device *dev = DEVICE_DT_GET(DT_NODELABEL(i2c0));
        if (!dev) {
                printf("Failed to get I2C device binding\n");
                return -1;
        }

        i2cdev_ = dev;
        numReg_ = 0x58 / 2;
        lastReg_ = (uint16_t *)k_malloc(numReg_ * sizeof(uint16_t));
        memset(lastReg_, 0, numReg_ * sizeof(uint16_t));
        minReg_ = (uint16_t*) k_malloc(numReg_ * sizeof(uint16_t));
        memset(minReg_, 0xff, numReg_ * sizeof(uint16_t));
        maxReg_ = (uint16_t*)k_malloc(numReg_ * sizeof(uint16_t));
        memset(maxReg_, 0, numReg_ * sizeof(uint16_t));

        k_mutex_init(&mutex_);

        return 0;
}
int PSUCtrl_deviceIsReady() {
        if (!device_is_ready(i2cdev_)) {
                printf("I2C device is not ready\n");
                return 0;
        }
        return 1;
}

int PSUCtrl_deinit() {

        k_free(lastReg_);
        k_free(minReg_);
        k_free(maxReg_);

        return 0;
}

int PSUCtrl_readEEPROM() {
        uint8_t data[256];

        // k_mutex_lock(&mutex_, K_FOREVER);
        if(k_mutex_lock(&mutex_, K_MSEC(100))) {
                printf("i2c mutex lock failed\n");
                return -1;
        }

        if (i2c_burst_read(i2cdev_, EEaddress_, 0, data, 256)) {
                printf("Failed to read EEPROM\n");
                k_mutex_unlock(&mutex_);
                return -2;
        }

        k_mutex_unlock(&mutex_);
        printf("%02x", data[0]);
        for (int i = 1; i < 256; i++) {
                printf(" %02x", data[i]);
        }
        printf("\n");
        return 0;
}

int PSUCtrl_readVar(uint8_t address, uint8_t* writeInts, uint32_t writeLen, uint8_t* data, uint32_t readCount) {
        struct i2c_msg msgs[] = {
                {
                        .buf = writeInts,
                        .len = writeLen,
                        .flags = I2C_MSG_WRITE,
                },
                {
                        .buf = data,
                        .len = readCount,
                        .flags = I2C_MSG_READ | I2C_MSG_RESTART | I2C_MSG_STOP,
                }
        };
        // k_mutex_lock(&mutex_, K_FOREVER);
        if(k_mutex_lock(&mutex_, K_MSEC(100))) {
                printf("i2c mutex lock failed\n");
                return -1;
        }

        // if (i2c_transfer(i2cdev_, &msgs[0], 2, address)) {
        //         printf("Failed to read variable\n");
        //         k_mutex_unlock(&mutex_);
        //         return -1;
        // }

        if(i2c_write_read(i2cdev_, address, writeInts, writeLen, data, readCount)) {
                printf("Failed to operate i2c\n");
                k_mutex_unlock(&mutex_);
                return -1;
        }

        // if(i2c_write(i2cdev_, writeInts, writeLen, address)) {
        //         printf("Failed to write i2c\n");
        //         k_mutex_unlock(&mutex_);
        //         return -1;
        // }

        // if(i2c_read(i2cdev_, data, readCount, address)) {
        //         printf("Failed to read i2c\n");
        //         k_mutex_unlock(&mutex_);
        //         return -2;
        // }

        k_mutex_unlock(&mutex_);

        return 0;
}

int PSUCtrl_writeVar(uint8_t address, uint8_t* data, uint32_t len) {
        uint8_t reg = data[0];
        uint8_t *buf = &data[1];

        // k_mutex_lock(&mutex_, K_FOREVER);
        if(k_mutex_lock(&mutex_, K_MSEC(100))) {
                printf("i2c mutex lock failed\n");
                return -1;
        }

        if (i2c_burst_write(i2cdev_, address, reg, (uint8_t *)buf, len - 1)) {
                k_mutex_unlock(&mutex_);
                return -1;
        }
        k_mutex_unlock(&mutex_);

        return 0;
}

int PSUCtrl_readDPS1200(uint8_t reg,
                        uint8_t *data,
                        uint32_t count)
{
    uint16_t sum   = (address_ << 1) + reg;
    uint8_t cs    = (uint8_t)(-sum);   // 2's complement checksum

    uint8_t tx[2];
    tx[0] = reg;
    tx[1] = cs;

    return PSUCtrl_readVar(address_, tx, sizeof(tx), data, count);
}

int PSUCtrl_readDPS1200Register(uint8_t reg, int *value) {
        uint8_t data[3];
        int ret = PSUCtrl_readDPS1200(reg<<1, data, 3);
        if(ret < 0) {
                return -1;
        }

        uint16_t sum   = data[0] + data[1];
        uint8_t cs    = (uint8_t)(-sum);

        if(cs != data[2]) {
                printf("Read error");
                return -2;
        }
        *value=data[0] | data[1]<<8;
        return 0;

}

int PSUCtrl_writeDPS1200(uint8_t reg, int value) {
        uint8_t payload_lsb = (uint8_t)(value & 0xFF);
        uint8_t payload_msb = (uint8_t)((value >> 8) & 0xFF);

        uint16_t sum = (address_ << 1) + reg +  payload_lsb + payload_msb;

        uint8_t checksum = (uint8_t)(-sum);

        uint8_t frame[4] = {
                reg,
                payload_lsb,
                payload_msb,
                checksum
        };

        return PSUCtrl_writeVar(address_, frame, 4);

}

int PSUCtrl_writeDPS1200Register(uint8_t reg, int value)
{
        return PSUCtrl_writeDPS1200(reg << 1, value);
}

int PSUCtrl_forceFanRPM(int rpm) {
        PSUCtrl_writeDPS1200Register(0x20,rpm);
        return 0;
}


void PSUCtrl_ONOFF(lv_event_t * e) {
        lv_obj_t * obj = lv_event_get_target(e);
        lv_event_code_t code = lv_event_get_code(e);
        int val;
        int ret;

        if(code == LV_EVENT_CLICKED) {
                ret = PSUCtrl_readDPS1200Register(0x21, &val);
                if(ret) {
                        return ;
                }
                val ^= 1 << 15;
                PSUCtrl_writeDPS1200Register(0x21, val);
                ret = PSUCtrl_readDPS1200Register(0x21, &val);
                if(!ret) {
                        if( val & (1 << 15)) {
                                lv_label_set_text(ui_LabelOnOff, "ON");
                                printf("===ON===\n");
                        } else {
                                lv_label_set_text(ui_LabelOnOff, "OFF");
                                printf("===OFF===\n");
                        }
                }
        }
}

// 0 - CV 1 - CC
void PSUCtrl_CVCC(lv_event_t * e) {
        lv_obj_t * obj = lv_event_get_target(e);
        lv_event_code_t code = lv_event_get_code(e);
        int val;
        int ret;

        if(code == LV_EVENT_CLICKED) {
                ret = PSUCtrl_readDPS1200Register(0x21, &val);
                if(ret) {
                        return ;
                }
                val ^= 1;
                PSUCtrl_writeDPS1200Register(0x21, val);
                ret = PSUCtrl_readDPS1200Register(0x21, &val);
                if(!ret) {
                        if(val & 0x1) {
                                lv_label_set_text(ui_LabelCVCC, "CC");
                                printf("===CC===\n");
                        } else {
                                lv_label_set_text(ui_LabelCVCC, "CV");
                                printf("===CV===\n");
                        }
                }
        }
}

void PSUCtrl_Set_CC(lv_event_t * event) {
        lv_event_code_t code = lv_event_get_code(event);
        int val;
        int ret;
        float current;
        char buf[32];

        ret = PSUCtrl_readDPS1200Register(0x1f, &val);
        if(ret) {
                return ;
        }

        current = val * 1.0/265;

        if (code == LV_EVENT_KEY) {
                uint32_t key = lv_event_get_key(event); // Retrieve the pressed key
                if (key == LV_KEY_UP) {
                        current += 0.5;
                } else if (key == LV_KEY_DOWN) {
                        current -= 0.5;
                }

        } else if(code == LV_EVENT_LONG_PRESSED || code == LV_EVENT_LONG_PRESSED_REPEAT) {
                uint32_t key = lv_event_get_key(event);
                if(key == LV_KEY_UP) current = +5;
                else if(key == LV_KEY_DOWN) current = -5;
        }

        val = (uint16_t)(current * 265);
        snprintf(buf, sizeof(buf), "%.1f", current);

        PSUCtrl_writeDPS1200Register(0x1f, val);
        ret = PSUCtrl_readDPS1200Register(0x1f, &val);
        if(!ret) {
        }

        lv_label_set_text(ui_lblPsuCc, buf);

}

int PSUCtrl_UI_Init()
{
        int val;
        int ret;
        float current = 20;
        char buf[32];

        ret = PSUCtrl_readDPS1200Register(0x21, &val);
        if(!ret) {
                if( val & (1 << 15)) {
                        lv_label_set_text(ui_LabelOnOff, "ON");
                } else {
                        lv_label_set_text(ui_LabelOnOff, "OFF");
                }
                if(val & 0x1) {
                        lv_label_set_text(ui_LabelCVCC, "CC");
                } else {
                        lv_label_set_text(ui_LabelCVCC, "CV");
                }
        }

        val = (uint16_t)(current * 265);
        snprintf(buf, sizeof(buf), "%.1f", current);

        PSUCtrl_writeDPS1200Register(0x1f, val);
        ret = PSUCtrl_readDPS1200Register(0x1f, &val);
        if(!ret) {
                lv_label_set_text(ui_lblPsuCc, buf);
        }

        return 0;
}

ZBUS_CHAN_DEFINE(psuctrl_data_chan,
                 struct psuctrl_data_event,
                 NULL,
                 NULL,
                 ZBUS_OBSERVERS(watchface_psuctrl_event),
                 ZBUS_MSG_INIT()
                 );

ZBUS_CHAN_DECLARE(psuctrl_data_chan);

#define PSUCTRL_INTERVAL_MS  500

static void psuctrl_work_cb(struct k_work *work);
static K_WORK_DELAYABLE_DEFINE(psuctrl_work, psuctrl_work_cb);

static float volts = 0;
static float amps = 0;
static float watts = 0;
static float energy = 0;
static uint64_t start_time_ms;

static void send_psuctrl_data_event(void)
{
        int val;
        int ret;

        ret=PSUCtrl_readDPS1200Register(7, &val);
        if(!ret) {
                volts = val;
                volts = volts / (OVP_SCALE_FACTOR * 256);
        }
        ret=PSUCtrl_readDPS1200Register(8, &val);
        if(!ret) {
                amps = val;
                amps = amps/64.0;
        }
        ret=PSUCtrl_readDPS1200Register(9, &val);
        if(!ret) {
                watts = val;
        }
        uint64_t elapsed_time = k_uptime_delta(&start_time_ms);
        start_time_ms = k_uptime_get();

        float power = volts * amps;
        energy += power * elapsed_time / 1000.0 / 3600;

        struct psuctrl_data_event evt = {
                .volts = volts,
                .amps = amps,
                .watts = watts,
                .energy = energy,
                .is_kWh = 0
        };

        if(energy >= 1000) {
                evt.energy /= 1000;
                evt.is_kWh = 1;
        } else {
                evt.is_kWh = 0;
        }

        zbus_chan_pub(&psuctrl_data_chan, &evt, K_MSEC(250));
}

static void psuctrl_work_cb(struct k_work *work)
{
        send_psuctrl_data_event();
        k_work_schedule(&psuctrl_work, K_MSEC(PSUCTRL_INTERVAL_MS));
}

int psuctrl_init(void)
{
        start_time_ms = k_uptime_get();
        PSUCtrl_init(0, 7);
        k_work_schedule(&psuctrl_work, K_MSEC(10));

        return 0;
}

SYS_INIT(psuctrl_init, APPLICATION, CONFIG_APPLICATION_INIT_PRIORITY);
```
